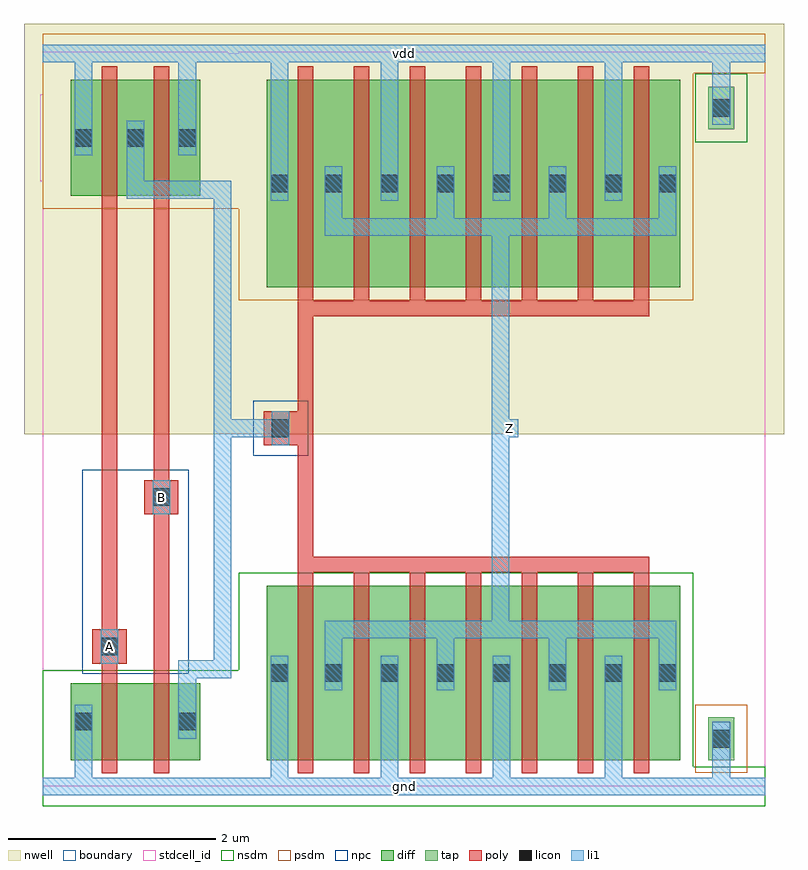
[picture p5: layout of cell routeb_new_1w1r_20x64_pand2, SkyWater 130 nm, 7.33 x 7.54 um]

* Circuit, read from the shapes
.subckt routeb_new_1w1r_20x64_pand2 A B Z gnd vdd
XM1 routeb_new_1w1r_20x64_pnand2_0/routeb_new_1w1r_20x64_nmos_m1_w0_740_sli_dactive_2/D A gnd gnd sky130_fd_pr__nfet_01v8 w=0.74 l=0.15
XM2 routeb_new_1w1r_20x64_pdriver_1/A B routeb_new_1w1r_20x64_pnand2_0/routeb_new_1w1r_20x64_nmos_m1_w0_740_sli_dactive_2/D gnd sky130_fd_pr__nfet_01v8 w=0.74 l=0.15
XM3 Z routeb_new_1w1r_20x64_pdriver_1/A gnd gnd sky130_fd_pr__nfet_01v8 w=1.68 l=0.15 m=7
XM4 routeb_new_1w1r_20x64_pdriver_1/A A vdd vdd sky130_fd_pr__pfet_01v8 w=1.12 l=0.15
XM5 vdd B routeb_new_1w1r_20x64_pdriver_1/A vdd sky130_fd_pr__pfet_01v8 w=1.12 l=0.15
XM6 Z routeb_new_1w1r_20x64_pdriver_1/A vdd vdd sky130_fd_pr__pfet_01v8 w=2 l=0.15 m=7
.ends

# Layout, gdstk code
import gdstk
lib = gdstk.Library(unit=1e-6, precision=1e-09)
def R(c, l, rs):  # rectangles x0, y0, x1, y1
    for r in rs: c.add(gdstk.rectangle(r[:2], r[2:], *l))
def A(c, l, x, y, w, h, nx, ny, dx, dy):  # array of equal rectangles
    R(c, l, [(x+i*dx, y+j*dy, x+i*dx+w, y+j*dy+h) for i in range(nx) for j in range(ny)])
nwell = (64, 20)
diff = (65, 20)
tap = (65, 44)
poly = (66, 20)
licon = (66, 44)
li1 = (67, 20)
stdcell_id = (81, 4)
nsdm = (93, 44)
psdm = (94, 20)
npc = (95, 20)
boundary = (235, 4)

routeb_new_1w1r_20x64_co = lib.new_cell('routeb_new_1w1r_20x64_contact_11')
R(routeb_new_1w1r_20x64_co, nwell, [(-0.295,-0.255,0.545,0.585)])
R(routeb_new_1w1r_20x64_co, diff, [(0,0.02,0.25,0.31)])
R(routeb_new_1w1r_20x64_co, licon, [(0.04,0.08,0.21,0.25)])
R(routeb_new_1w1r_20x64_co, li1, [(0.04,0,0.21,0.33)])
R(routeb_new_1w1r_20x64_co, stdcell_id, [(-0.295,-0.255,0.545,0.585)])
R(routeb_new_1w1r_20x64_co, psdm, [(-0.125,-0.105,0.375,0.435)])
R(routeb_new_1w1r_20x64_co, boundary, [(-0.295,-0.255,0.545,0.585)])

routeb_new_1w1r_20x64_pm = lib.new_cell('routeb_new_1w1r_20x64_pmos_m1_w1_120_sli_dli')
R(routeb_new_1w1r_20x64_pm, nwell, [(-0.27,-0.27,1.02,1.39)])
R(routeb_new_1w1r_20x64_pm, diff, [(0,0,0.75,1.12)])
R(routeb_new_1w1r_20x64_pm, poly, [(0.3,-0.13,0.45,1.25), (0.3,-0.13,0.45,1.25)])
R(routeb_new_1w1r_20x64_pm, li1, [(0.04,0.395,0.21,0.725), (0.54,0.395,0.71,0.725)])
R(routeb_new_1w1r_20x64_pm, stdcell_id, [(-0.27,-0.27,1.02,1.39)])
R(routeb_new_1w1r_20x64_pm, psdm, [(-0.125,-0.125,0.875,1.245)])
R(routeb_new_1w1r_20x64_pm, boundary, [(-0.27,-0.27,1.02,1.39)])
routeb_new_1w1r_20x64_pm.add(gdstk.Reference(routeb_new_1w1r_20x64_co, (0,0.395)))
routeb_new_1w1r_20x64_pm.add(gdstk.Reference(routeb_new_1w1r_20x64_co, (0.5,0.395)))
routeb_new_1w1r_20x64_pm.add(gdstk.Label('G', (0.375,0.56), layer=66, texttype=5))
routeb_new_1w1r_20x64_pm.add(gdstk.Label('S', (0.125,0.56), layer=67, texttype=5))
routeb_new_1w1r_20x64_pm.add(gdstk.Label('D', (0.625,0.56), layer=67, texttype=5))

c_routeb_new_1w1r_20x64_co = lib.new_cell('routeb_new_1w1r_20x64_contact_10')
R(c_routeb_new_1w1r_20x64_co, diff, [(0,0.02,0.25,0.31)])
R(c_routeb_new_1w1r_20x64_co, licon, [(0.04,0.08,0.21,0.25)])
R(c_routeb_new_1w1r_20x64_co, li1, [(0.04,0,0.21,0.33)])
R(c_routeb_new_1w1r_20x64_co, stdcell_id, [(-0.125,-0.105,0.375,0.435)])
R(c_routeb_new_1w1r_20x64_co, nsdm, [(-0.125,-0.105,0.375,0.435)])
R(c_routeb_new_1w1r_20x64_co, boundary, [(-0.125,-0.105,0.375,0.435)])

routeb_new_1w1r_20x64_nm = lib.new_cell('routeb_new_1w1r_20x64_nmos_m1_w0_740_sli_dactive')
R(routeb_new_1w1r_20x64_nm, diff, [(0,0,0.75,0.74), (0.55,0.295,0.7,0.445)])
R(routeb_new_1w1r_20x64_nm, poly, [(0.3,-0.13,0.45,0.87), (0.3,-0.13,0.45,0.87)])
R(routeb_new_1w1r_20x64_nm, li1, [(0.04,0.205,0.21,0.535)])
R(routeb_new_1w1r_20x64_nm, stdcell_id, [(-0.125,-0.13,0.875,0.87)])
R(routeb_new_1w1r_20x64_nm, nsdm, [(-0.125,-0.125,0.875,0.865)])
R(routeb_new_1w1r_20x64_nm, boundary, [(-0.125,-0.13,0.875,0.87)])
routeb_new_1w1r_20x64_nm.add(gdstk.Reference(c_routeb_new_1w1r_20x64_co, (0,0.205)))
routeb_new_1w1r_20x64_nm.add(gdstk.Label('G', (0.375,0.37), layer=66, texttype=5))
routeb_new_1w1r_20x64_nm.add(gdstk.Label('S', (0.125,0.37), layer=67, texttype=5))
routeb_new_1w1r_20x64_nm.add(gdstk.Label('D', (0.625,0.37), layer=65, texttype=5))

c_routeb_new_1w1r_20x64_nm = lib.new_cell('routeb_new_1w1r_20x64_nmos_m1_w0_740_sactive_dli')
R(c_routeb_new_1w1r_20x64_nm, diff, [(0,0,0.75,0.74), (0.05,0.295,0.2,0.445)])
R(c_routeb_new_1w1r_20x64_nm, poly, [(0.3,-0.13,0.45,0.87), (0.3,-0.13,0.45,0.87)])
R(c_routeb_new_1w1r_20x64_nm, li1, [(0.54,0.205,0.71,0.535)])
R(c_routeb_new_1w1r_20x64_nm, stdcell_id, [(-0.125,-0.13,0.875,0.87)])
R(c_routeb_new_1w1r_20x64_nm, nsdm, [(-0.125,-0.125,0.875,0.865)])
R(c_routeb_new_1w1r_20x64_nm, boundary, [(-0.125,-0.13,0.875,0.87)])
c_routeb_new_1w1r_20x64_nm.add(gdstk.Reference(c_routeb_new_1w1r_20x64_co, (0.5,0.205)))
c_routeb_new_1w1r_20x64_nm.add(gdstk.Label('G', (0.375,0.37), layer=66, texttype=5))
c_routeb_new_1w1r_20x64_nm.add(gdstk.Label('S', (0.125,0.37), layer=65, texttype=5))
c_routeb_new_1w1r_20x64_nm.add(gdstk.Label('D', (0.625,0.37), layer=67, texttype=5))

c_routeb_new_1w1r_20x64_co_ = lib.new_cell('routeb_new_1w1r_20x64_contact_15')
R(c_routeb_new_1w1r_20x64_co_, poly, [(0,0,0.33,0.33)])
R(c_routeb_new_1w1r_20x64_co_, licon, [(0.08,0.08,0.25,0.25)])
R(c_routeb_new_1w1r_20x64_co_, li1, [(0.08,0,0.25,0.33)])
R(c_routeb_new_1w1r_20x64_co_, stdcell_id, [(-0.1,-0.1,0.43,0.43)])
R(c_routeb_new_1w1r_20x64_co_, npc, [(-0.1,-0.1,0.43,0.43)])
R(c_routeb_new_1w1r_20x64_co_, boundary, [(-0.1,-0.1,0.43,0.43)])

routeb_new_1w1r_20x64_pn = lib.new_cell('routeb_new_1w1r_20x64_pnand2')
R(routeb_new_1w1r_20x64_pn, nwell, [(-0.18,3.395,2.07,7.355)])
R(routeb_new_1w1r_20x64_pn, poly, [(0.57,1.125,0.72,5.565), (1.07,1.125,1.22,5.565), (0.57,1.185,0.645,1.515), (1.07,2.625,1.145,2.955)])
R(routeb_new_1w1r_20x64_pn, li1, [(0,-0.085,1.89,0.085), (0.31,-0.085,0.48,0.46), (1.31,0.79,1.48,1.13), (1.31,1.045,1.48,1.215), (1.395,1.045,1.735,1.215), (1.65,1.045,1.82,1.215), (1.65,1.13,1.82,5.755), (0.56,1.185,0.73,1.515), (1.06,2.625,1.23,2.955), (0.81,5.67,0.98,5.84), (0.895,5.67,1.735,5.84), (1.65,5.67,1.82,5.84), (0.81,5.755,0.98,6.09), (0.31,6.09,0.48,7.155), (1.31,6.09,1.48,7.155), (0,6.985,1.89,7.155)])
R(routeb_new_1w1r_20x64_pn, stdcell_id, [(0,0,1.89,7.07), (0,0,1.89,7.07)])
R(routeb_new_1w1r_20x64_pn, nsdm, [(0,-0.19,1.89,0.19), (0,0,1.89,1.12)])
R(routeb_new_1w1r_20x64_pn, psdm, [(0,5.57,1.89,7.07), (0,6.88,1.89,7.26)])
R(routeb_new_1w1r_20x64_pn, npc, [(0.38,1.085,1.41,3.055)])
R(routeb_new_1w1r_20x64_pn, boundary, [(0,0,1.89,7.07), (0,0,1.89,7.07)])
routeb_new_1w1r_20x64_pn.add(gdstk.Reference(routeb_new_1w1r_20x64_pm, (0.27,5.695)))
routeb_new_1w1r_20x64_pn.add(gdstk.Reference(routeb_new_1w1r_20x64_pm, (0.77,5.695)))
routeb_new_1w1r_20x64_pn.add(gdstk.Reference(routeb_new_1w1r_20x64_nm, (0.27,0.255)))
routeb_new_1w1r_20x64_pn.add(gdstk.Reference(c_routeb_new_1w1r_20x64_nm, (0.77,0.255)))
routeb_new_1w1r_20x64_pn.add(gdstk.Reference(c_routeb_new_1w1r_20x64_co_, (0.48,1.185)))
routeb_new_1w1r_20x64_pn.add(gdstk.Reference(c_routeb_new_1w1r_20x64_co_, (0.98,2.625)))
routeb_new_1w1r_20x64_pn.add(gdstk.Label('Z', (1.735,5.755), layer=67, texttype=5))
routeb_new_1w1r_20x64_pn.add(gdstk.Label('gnd', (0.945,0), layer=67, texttype=5))
routeb_new_1w1r_20x64_pn.add(gdstk.Label('vdd', (0.945,7.07), layer=67, texttype=5))
routeb_new_1w1r_20x64_pn.add(gdstk.Label('A', (0.645,1.35), layer=67, texttype=5))
routeb_new_1w1r_20x64_pn.add(gdstk.Label('B', (1.145,2.79), layer=67, texttype=5))

c_routeb_new_1w1r_20x64_pm = lib.new_cell('routeb_new_1w1r_20x64_pmos_m7_w2_000_sli_dli_da_p')
R(c_routeb_new_1w1r_20x64_pm, nwell, [(-0.27,-0.27,4.26,2.27)])
R(c_routeb_new_1w1r_20x64_pm, diff, [(0,0,3.99,2)])
A(c_routeb_new_1w1r_20x64_pm, poly, 0.3, -0.13, 0.15, 2.26, 7, 1, 0.54, 0)
R(c_routeb_new_1w1r_20x64_pm, poly, [(0.3,-0.28,3.69,-0.13)])
A(c_routeb_new_1w1r_20x64_pm, li1, 0.56, 0.58, 0.17, 0.42, 3, 1, 1.08, 0)
A(c_routeb_new_1w1r_20x64_pm, li1, 1.1, 0.835, 0.17, 0.33, 3, 1, 1.08, 0)
R(c_routeb_new_1w1r_20x64_pm, li1, [(0.56,0.495,3.95,0.665), (3.78,0.58,3.95,1), (0.04,0.835,0.21,1.165)])
R(c_routeb_new_1w1r_20x64_pm, stdcell_id, [(-0.27,-0.28,4.26,2.27)])
R(c_routeb_new_1w1r_20x64_pm, psdm, [(-0.125,-0.125,4.115,2.125)])
R(c_routeb_new_1w1r_20x64_pm, boundary, [(-0.27,-0.28,4.26,2.27)])
c_routeb_new_1w1r_20x64_pm.add(gdstk.Reference(routeb_new_1w1r_20x64_co, (0,0.835)))
c_routeb_new_1w1r_20x64_pm.add(gdstk.Reference(routeb_new_1w1r_20x64_co, (0.52,0.835)))
c_routeb_new_1w1r_20x64_pm.add(gdstk.Reference(routeb_new_1w1r_20x64_co, (1.06,0.835)))
c_routeb_new_1w1r_20x64_pm.add(gdstk.Reference(routeb_new_1w1r_20x64_co, (1.6,0.835)))
c_routeb_new_1w1r_20x64_pm.add(gdstk.Reference(routeb_new_1w1r_20x64_co, (2.14,0.835)))
c_routeb_new_1w1r_20x64_pm.add(gdstk.Reference(routeb_new_1w1r_20x64_co, (2.68,0.835)))
c_routeb_new_1w1r_20x64_pm.add(gdstk.Reference(routeb_new_1w1r_20x64_co, (3.22,0.835)))
c_routeb_new_1w1r_20x64_pm.add(gdstk.Reference(routeb_new_1w1r_20x64_co, (3.74,0.835)))
c_routeb_new_1w1r_20x64_pm.add(gdstk.Label('G', (1.995,-0.205), layer=66, texttype=5))
c_routeb_new_1w1r_20x64_pm.add(gdstk.Label('S', (2.265,1), layer=67, texttype=5))
c_routeb_new_1w1r_20x64_pm.add(gdstk.Label('S', (0.125,1), layer=67, texttype=5))
c_routeb_new_1w1r_20x64_pm.add(gdstk.Label('S', (1.185,1), layer=67, texttype=5))
c_routeb_new_1w1r_20x64_pm.add(gdstk.Label('S', (3.345,1), layer=67, texttype=5))
c_routeb_new_1w1r_20x64_pm.add(gdstk.Label('D', (2.255,0.58), layer=67, texttype=5))

c_routeb_new_1w1r_20x64_nm_ = lib.new_cell('routeb_new_1w1r_20x64_nmos_m7_w1_680_sli_dli_da_p')
R(c_routeb_new_1w1r_20x64_nm_, diff, [(0,0,3.99,1.68)])
A(c_routeb_new_1w1r_20x64_nm_, poly, 0.3, -0.13, 0.15, 1.94, 7, 1, 0.54, 0)
R(c_routeb_new_1w1r_20x64_nm_, poly, [(0.3,1.81,3.69,1.96)])
A(c_routeb_new_1w1r_20x64_nm_, li1, 1.1, 0.675, 0.17, 0.33, 3, 1, 1.08, 0)
A(c_routeb_new_1w1r_20x64_nm_, li1, 0.56, 0.84, 0.17, 0.42, 3, 1, 1.08, 0)
R(c_routeb_new_1w1r_20x64_nm_, li1, [(0.04,0.675,0.21,1.005), (3.78,0.84,3.95,1.26), (0.56,1.175,3.95,1.345)])
R(c_routeb_new_1w1r_20x64_nm_, stdcell_id, [(-0.125,-0.13,4.115,1.96)])
R(c_routeb_new_1w1r_20x64_nm_, nsdm, [(-0.125,-0.125,4.115,1.805)])
R(c_routeb_new_1w1r_20x64_nm_, boundary, [(-0.125,-0.13,4.115,1.96)])
c_routeb_new_1w1r_20x64_nm_.add(gdstk.Reference(c_routeb_new_1w1r_20x64_co, (0,0.675)))
c_routeb_new_1w1r_20x64_nm_.add(gdstk.Reference(c_routeb_new_1w1r_20x64_co, (0.52,0.675)))
c_routeb_new_1w1r_20x64_nm_.add(gdstk.Reference(c_routeb_new_1w1r_20x64_co, (1.06,0.675)))
c_routeb_new_1w1r_20x64_nm_.add(gdstk.Reference(c_routeb_new_1w1r_20x64_co, (1.6,0.675)))
c_routeb_new_1w1r_20x64_nm_.add(gdstk.Reference(c_routeb_new_1w1r_20x64_co, (2.14,0.675)))
c_routeb_new_1w1r_20x64_nm_.add(gdstk.Reference(c_routeb_new_1w1r_20x64_co, (2.68,0.675)))
c_routeb_new_1w1r_20x64_nm_.add(gdstk.Reference(c_routeb_new_1w1r_20x64_co, (3.22,0.675)))
c_routeb_new_1w1r_20x64_nm_.add(gdstk.Reference(c_routeb_new_1w1r_20x64_co, (3.74,0.675)))
c_routeb_new_1w1r_20x64_nm_.add(gdstk.Label('G', (1.995,1.885), layer=66, texttype=5))
c_routeb_new_1w1r_20x64_nm_.add(gdstk.Label('S', (0.125,0.84), layer=67, texttype=5))
c_routeb_new_1w1r_20x64_nm_.add(gdstk.Label('S', (2.265,0.84), layer=67, texttype=5))
c_routeb_new_1w1r_20x64_nm_.add(gdstk.Label('S', (1.185,0.84), layer=67, texttype=5))
c_routeb_new_1w1r_20x64_nm_.add(gdstk.Label('S', (3.345,0.84), layer=67, texttype=5))
c_routeb_new_1w1r_20x64_nm_.add(gdstk.Label('D', (2.255,1.26), layer=67, texttype=5))

c_routeb_new_1w1r_20x64_co__ = lib.new_cell('routeb_new_1w1r_20x64_contact_24')
R(c_routeb_new_1w1r_20x64_co__, nwell, [(-0.295,-0.215,0.545,0.625)])
R(c_routeb_new_1w1r_20x64_co__, tap, [(0,0,0.25,0.41)])
R(c_routeb_new_1w1r_20x64_co__, licon, [(0.04,0.12,0.21,0.29)])
R(c_routeb_new_1w1r_20x64_co__, li1, [(0.04,0.04,0.21,0.37)])
R(c_routeb_new_1w1r_20x64_co__, stdcell_id, [(-0.295,-0.215,0.545,0.625)])
R(c_routeb_new_1w1r_20x64_co__, nsdm, [(-0.125,-0.125,0.375,0.535)])
R(c_routeb_new_1w1r_20x64_co__, boundary, [(-0.295,-0.215,0.545,0.625)])

c_routeb_new_1w1r_20x64_co___ = lib.new_cell('routeb_new_1w1r_20x64_contact_25')
R(c_routeb_new_1w1r_20x64_co___, tap, [(0,0,0.25,0.41)])
R(c_routeb_new_1w1r_20x64_co___, licon, [(0.04,0.12,0.21,0.29)])
R(c_routeb_new_1w1r_20x64_co___, li1, [(0.04,0.04,0.21,0.37)])
R(c_routeb_new_1w1r_20x64_co___, stdcell_id, [(-0.125,-0.125,0.375,0.535)])
R(c_routeb_new_1w1r_20x64_co___, psdm, [(-0.125,-0.125,0.375,0.535)])
R(c_routeb_new_1w1r_20x64_co___, boundary, [(-0.125,-0.125,0.375,0.535)])

routeb_new_1w1r_20x64_pi = lib.new_cell('routeb_new_1w1r_20x64_pinv_1')
R(routeb_new_1w1r_20x64_pi, nwell, [(-0.18,3.395,5.26,7.355)])
R(routeb_new_1w1r_20x64_pi, poly, [(0.57,2.215,0.72,4.535), (0.405,3.29,0.57,3.62)])
A(routeb_new_1w1r_20x64_pi, li1, 1.37, -0.085, 0.17, 1.015, 3, 1, 1.08, 0)
A(routeb_new_1w1r_20x64_pi, li1, 1.37, 5.65, 0.17, 1.505, 3, 1, 1.08, 0)
R(routeb_new_1w1r_20x64_pi, li1, [(0,-0.085,5.08,0.085), (0.31,-0.085,0.48,0.93), (4.57,0,4.74,0.46), (2.44,1.43,2.61,5.48), (0.32,3.29,0.49,3.62), (2.525,3.37,2.695,3.54), (0.31,5.65,0.48,7.155), (4.57,6.545,4.74,7.07), (0,6.985,5.08,7.155)])
R(routeb_new_1w1r_20x64_pi, stdcell_id, [(0,0,5.08,7.07), (0,0,5.08,7.07)])
R(routeb_new_1w1r_20x64_pi, nsdm, [(0,-0.19,5.08,0.19), (0,0,4.385,2.06)])
R(routeb_new_1w1r_20x64_pi, psdm, [(0,4.69,4.385,7.07), (0,6.88,5.08,7.26)])
R(routeb_new_1w1r_20x64_pi, boundary, [(0,0,5.08,7.07), (0,0,5.08,7.07)])
routeb_new_1w1r_20x64_pi.add(gdstk.Reference(c_routeb_new_1w1r_20x64_pm, (0.27,4.815)))
routeb_new_1w1r_20x64_pi.add(gdstk.Reference(c_routeb_new_1w1r_20x64_nm_, (0.27,0.255)))
routeb_new_1w1r_20x64_pi.add(gdstk.Reference(c_routeb_new_1w1r_20x64_co__, (4.53,6.34)))
routeb_new_1w1r_20x64_pi.add(gdstk.Reference(c_routeb_new_1w1r_20x64_co___, (4.53,0.255)))
routeb_new_1w1r_20x64_pi.add(gdstk.Reference(c_routeb_new_1w1r_20x64_co_, (0.24,3.29)))
routeb_new_1w1r_20x64_pi.add(gdstk.Label('A', (0.405,3.455), layer=67, texttype=5))
routeb_new_1w1r_20x64_pi.add(gdstk.Label('Z', (2.61,3.455), layer=67, texttype=5))
routeb_new_1w1r_20x64_pi.add(gdstk.Label('gnd', (2.54,0), layer=67, texttype=5))
routeb_new_1w1r_20x64_pi.add(gdstk.Label('vdd', (2.54,7.07), layer=67, texttype=5))

routeb_new_1w1r_20x64_pd = lib.new_cell('routeb_new_1w1r_20x64_pdriver')
R(routeb_new_1w1r_20x64_pd, nwell, [(-0.18,3.395,5.26,7.355)])
R(routeb_new_1w1r_20x64_pd, li1, [(0,-0.085,5.08,0.085), (0.32,3.29,0.49,3.62), (2.525,3.37,2.695,3.54), (0,6.985,5.08,7.155)])
R(routeb_new_1w1r_20x64_pd, stdcell_id, [(0,0,5.08,7.07), (0,0,5.08,7.07)])
R(routeb_new_1w1r_20x64_pd, nsdm, [(0,-0.19,5.08,0.19)])
R(routeb_new_1w1r_20x64_pd, psdm, [(0,6.88,5.08,7.26)])
R(routeb_new_1w1r_20x64_pd, boundary, [(0,0,5.08,7.07), (0,0,5.08,7.07)])
routeb_new_1w1r_20x64_pd.add(gdstk.Reference(routeb_new_1w1r_20x64_pi, (0,0)))
routeb_new_1w1r_20x64_pd.add(gdstk.Label('Z', (2.61,3.455), layer=67, texttype=5))
routeb_new_1w1r_20x64_pd.add(gdstk.Label('A', (0.405,3.455), layer=67, texttype=5))
routeb_new_1w1r_20x64_pd.add(gdstk.Label('gnd', (2.54,0), layer=67, texttype=5))
routeb_new_1w1r_20x64_pd.add(gdstk.Label('vdd', (2.54,7.07), layer=67, texttype=5))

routeb_new_1w1r_20x64_pa = lib.new_cell('routeb_new_1w1r_20x64_pand2')
R(routeb_new_1w1r_20x64_pa, li1, [(0,-0.085,6.97,0.085), (0.56,1.185,0.73,1.515), (1.06,2.625,1.23,2.955), (1.65,3.37,1.82,3.54), (1.735,3.37,2.295,3.54), (4.415,3.37,4.585,3.54), (1.65,3.455,1.82,5.755), (0,6.985,6.97,7.155)])
R(routeb_new_1w1r_20x64_pa, stdcell_id, [(0,0,6.97,7.07), (0,0,6.97,7.07)])
R(routeb_new_1w1r_20x64_pa, boundary, [(0,0,6.97,7.07), (0,0,6.97,7.07)])
routeb_new_1w1r_20x64_pa.add(gdstk.Reference(routeb_new_1w1r_20x64_pn, (0,0)))
routeb_new_1w1r_20x64_pa.add(gdstk.Reference(routeb_new_1w1r_20x64_pd, (1.89,0)))
routeb_new_1w1r_20x64_pa.add(gdstk.Label('Z', (4.5,3.455), layer=67, texttype=5))
routeb_new_1w1r_20x64_pa.add(gdstk.Label('A', (0.645,1.35), layer=67, texttype=5))
routeb_new_1w1r_20x64_pa.add(gdstk.Label('B', (1.145,2.79), layer=67, texttype=5))
routeb_new_1w1r_20x64_pa.add(gdstk.Label('gnd', (3.485,0), layer=67, texttype=5))
routeb_new_1w1r_20x64_pa.add(gdstk.Label('vdd', (3.485,7.07), layer=67, texttype=5))

lib.write_gds('routeb_new_1w1r_20x64_pand2.gds')
